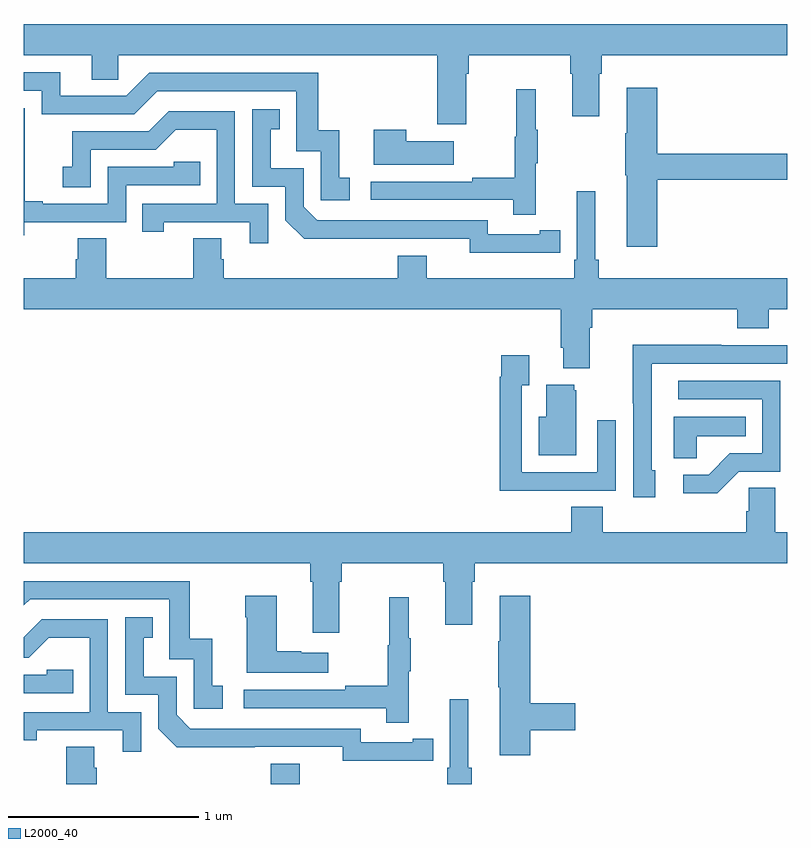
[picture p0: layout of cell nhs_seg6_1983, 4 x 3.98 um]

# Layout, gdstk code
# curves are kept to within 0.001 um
import gdstk
lib = gdstk.Library(unit=1e-6, precision=1e-09)
def R(c, l, rs):  # rectangles x0, y0, x1, y1
    for r in rs: c.add(gdstk.rectangle(r[:2], r[2:], *l))
def P(c, l, *ps):  # polygons
    for p in ps: c.add(gdstk.Polygon(p, *l))
L2000_40 = (2000, 40)

nhs_seg6_1983 = lib.new_cell('nhs_seg6_1983')
R(nhs_seg6_1983, L2000_40, [(230.294,959.5,230.446,959.605)])
P(nhs_seg6_1983, L2000_40, [(231.319,963.224),(231.332,963.224),(231.332,963.32),(231.863,963.32),(231.863,963.224),(231.875,963.224),(231.875,963),(232.015,963),(232.015,963.224),(232.028,963.224),(232.028,963.32),(233,963.32),(233,963.484),(229,963.484),(229,963.32),(229.355,963.32),(229.355,963.193),(229.494,963.193),(229.494,963.32),(231.167,963.32),(231.167,962.958),(231.319,962.958)],
  [(230.707,962.679),(230.654,962.679),(230.654,962.926),(230.543,962.926),(230.543,963.228),(229.656,963.228),(229.536,963.108),(229.189,963.108),(229.189,963.231),(229,963.231),(229,963.135),(229.092,963.135),(229.092,963.012),(229.578,963.012),(229.698,963.132),(230.427,963.132),(230.427,962.817),(230.556,962.817),(230.556,962.559),(230.707,962.559)],
  [(232.319,962.668),(233,962.668),(233,962.804),(232.319,962.804),(232.319,963.151),(232.16,963.151),(232.16,962.912),(232.153,962.912),(232.153,962.691),(232.16,962.691),(232.16,962.316),(232.319,962.316)],
  [(231.683,962.755),(231.694,962.755),(231.694,962.929),(231.683,962.929),(231.683,963.142),(231.58,963.142),(231.58,962.892),(231.573,962.892),(231.573,962.678),(231.349,962.678),(231.349,962.658),(230.817,962.658),(230.817,962.562),(231.565,962.562),(231.565,962.484),(231.683,962.484)],
  [(229.002,962.445),(229.536,962.445),(229.536,962.64),(229.925,962.64),(229.925,962.763),(229.785,962.763),(229.785,962.736),(229.44,962.736),(229.44,962.541),(229.099,962.541),(229.099,962.554),(229.004,962.554),(229.004,962.837),(229.005,962.837),(229.005,963.043),(229,963.043),(229,962.377),(229.002,962.377)],
  [(231.704,962.286),(231.812,962.286),(231.812,962.402),(231.704,962.402),(231.704,962.382),(231.432,962.382),(231.432,962.454),(230.538,962.454),(230.466,962.526),(230.466,962.727),(230.293,962.727),(230.293,962.931),(230.342,962.931),(230.342,963.037),(230.196,963.037),(230.196,962.631),(230.37,962.631),(230.37,962.454),(230.468,962.357),(231.336,962.358),(231.336,962.285)],
  [(230.28,962.541),(230.106,962.541),(230.106,963.027),(229.76,963.027),(229.655,962.922),(229.252,962.922),(229.252,962.737),(229.203,962.737),(229.203,962.628),(229.35,962.628),(229.35,962.826),(229.692,962.826),(229.796,962.93),(230.01,962.93),(230.01,962.541),(229.621,962.541),(229.621,962.394),(229.732,962.394),(229.732,962.445),(230.183,962.445),(230.183,962.334),(230.28,962.334)],
  [(231.253,962.869),(231.005,962.869),(231.005,962.929),(230.834,962.929),(230.834,962.747),(231.253,962.747)],
  [(231.967,961.892),(231.98,961.892),(231.98,961.988),(232.739,961.988),(232.739,961.889),(232.904,961.889),(232.904,961.988),(233,961.988),(233,962.152),(232.013,962.152),(232.013,962.248),(231.994,962.248),(231.994,962.608),(231.897,962.608),(231.897,962.248),(231.884,962.248),(231.884,962.152),(231.112,962.152),(231.112,962.269),(230.96,962.269),(230.96,962.152),(230.048,962.152),(230.048,962.25),(230.035,962.25),(230.035,962.36),(229.888,962.36),(229.888,962.152),(229.431,962.152),(229.431,962.36),(229.283,962.36),(229.283,962.25),(229.271,962.25),(229.271,962.152),(229,962.152),(229,961.988),(231.815,961.988),(231.815,961.786),(231.827,961.786),(231.827,961.679),(231.967,961.679)],
  [(232.309,961.146),(232.29,961.146),(232.29,961.704),(233,961.704),(233,961.8),(232.655,961.8),(232.655,961.802),(232.192,961.802),(232.192,961.495),(232.194,961.495),(232.194,961.002),(232.309,961.002)],
  [(231.785,961.038),(232.101,961.038),(232.101,961.408),(232.005,961.408),(232.005,961.134),(231.609,961.134),(231.609,961.591),(231.649,961.591),(231.649,961.747),(231.501,961.747),(231.501,961.634),(231.493,961.634),(231.493,961.037),(231.785,961.037)],
  [(232.746,961.137),(232.965,961.137),(232.965,961.614),(232.431,961.614),(232.431,961.518),(232.869,961.518),(232.869,961.233),(232.7,961.233),(232.589,961.122),(232.455,961.122),(232.455,961.025),(232.633,961.025)],
  [(231.895,961.563),(231.884,961.563),(231.884,961.594),(231.737,961.594),(231.737,961.426),(231.698,961.426),(231.698,961.223),(231.895,961.223)],
  [(232.527,961.322),(232.784,961.322),(232.784,961.426),(232.406,961.426),(232.406,961.207),(232.527,961.207)],
  [(230.653,960.56),(230.666,960.56),(230.666,960.656),(231.197,960.656),(231.197,960.56),(231.209,960.56),(231.209,960.336),(231.349,960.336),(231.349,960.56),(231.362,960.56),(231.362,960.656),(233,960.656),(233,960.82),(232.939,960.82),(232.939,961.052),(232.8,961.052),(232.8,960.929),(232.787,960.929),(232.787,960.82),(232.034,960.82),(232.034,960.953),(231.869,960.953),(231.869,960.82),(229,960.82),(229,960.656),(230.501,960.656),(230.501,960.56),(230.513,960.56),(230.513,960.294),(230.653,960.294)],
  [(230.041,960.015),(229.988,960.015),(229.988,960.262),(229.87,960.262),(229.87,960.564),(229,960.564),(229,960.436),(229.032,960.468),(229.761,960.468),(229.761,960.153),(229.89,960.153),(229.89,959.895),(230.041,959.895)],
  [(231.653,959.782),(231.889,959.782),(231.889,959.924),(231.653,959.924),(231.653,960.487),(231.494,960.487),(231.494,960.248),(231.487,960.248),(231.487,960.007),(231.494,960.007),(231.494,959.652),(231.653,959.652)],
  [(230.596,960.187),(230.453,960.187),(230.453,960.197),(230.326,960.197),(230.326,960.487),(230.161,960.487),(230.161,960.374),(230.168,960.374),(230.168,960.083),(230.596,960.083)],
  [(231.017,960.091),(231.028,960.091),(231.028,960.265),(231.017,960.265),(231.017,960.478),(230.914,960.478),(230.914,960.228),(230.907,960.228),(230.907,960.014),(230.683,960.014),(230.683,959.994),(230.151,959.994),(230.151,959.898),(230.899,959.898),(230.899,959.82),(231.017,959.82)],
  [(231.038,959.622),(231.146,959.622),(231.146,959.738),(231.038,959.738),(231.038,959.718),(230.766,959.718),(230.766,959.79),(229.872,959.79),(229.8,959.862),(229.8,960.063),(229.627,960.063),(229.627,960.267),(229.676,960.267),(229.676,960.373),(229.53,960.373),(229.53,959.967),(229.704,959.967),(229.704,959.79),(229.802,959.693),(230.67,959.694),(230.67,959.621)],
  [(229.614,959.877),(229.44,959.877),(229.44,960.363),(229.094,960.363),(229,960.269),(229,960.162),(229.026,960.162),(229.13,960.266),(229.344,960.266),(229.344,959.877),(229,959.877),(229,959.73),(229.066,959.73),(229.066,959.781),(229.517,959.781),(229.517,959.67),(229.614,959.67)],
  [(229.259,960.099),(229.119,960.099),(229.119,960.072),(229,960.072),(229,959.976),(229.259,959.976)],
  [(231.347,959.584),(231.328,959.584),(231.328,959.944),(231.231,959.944),(231.231,959.584),(231.218,959.584),(231.218,959.5),(231.347,959.5)],
  [(229.382,959.586),(229.369,959.586),(229.369,959.696),(229.222,959.696),(229.222,959.5),(229.382,959.5)])

lib.write_gds('nhs_seg6_1983.gds')
